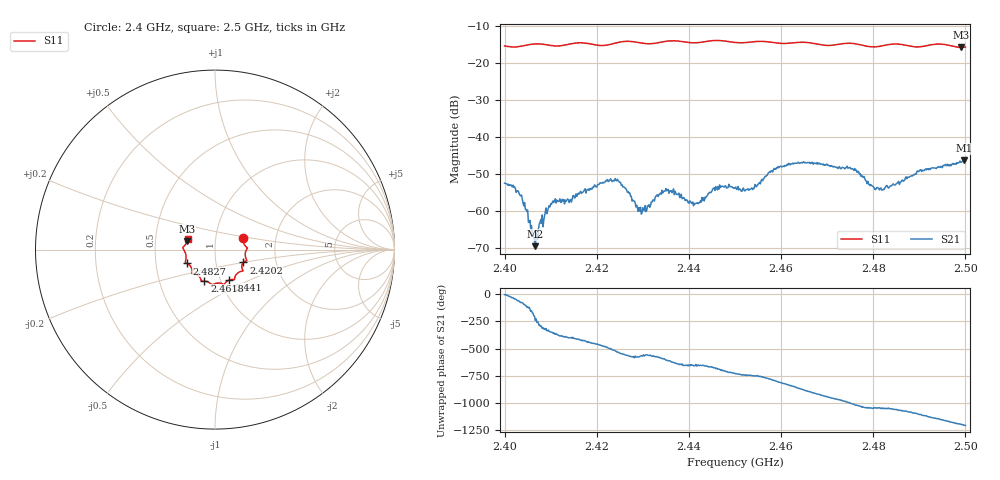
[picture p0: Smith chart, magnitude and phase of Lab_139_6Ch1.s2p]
# Hz S RI R 50
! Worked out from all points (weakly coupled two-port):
!   601 points, 2.4 GHz to 2.5 GHz, reference 50 ohm
!   highest |S21| = -46.37 dB at 2.4997 GHz (marker M1); lowest = -69.6 dB at 2.4067 GHz (marker M2)
!   lowest |S11| = -15.8 dB at 2.499 GHz (marker M3), VSWR 1.39, Z = 36.4 + j3.48 ohm
!   |S11| at or under -10 dB: start of sweep to end of sweep
!   S12 and S22 are empty: the file has one direction only
!   S11 on the Smith chart (normalised r, x): 2.4 GHz: 1.36, +0.18; 2.4202 GHz: 1.36, -0.20; 2.441 GHz: 1.10, -0.39; 2.4618 GHz: 0.84, -0.30; 2.4827 GHz: 0.72, -0.12; 2.5 GHz: 0.73, +0.09
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2.4e9  0.1582 0.0628  0.00234 -0.000111  0 0  0 0
2.403333e9  0.1653 0.0252  0.000512 -0.00153  0 0  0 0
2.406667e9  0.1805 0.00994  -0.000159 0.000289  0 0  0 0
2.4105e9  0.1704 -0.0111  0.00135 6.17e-05  0 0  0 0
2.416667e9  0.1773 -0.0606  0.000819 -0.0015  0 0  0 0
2.420167e9  0.1584 -0.0713  -0.000399 -0.00222  0 0  0 0
2.4245e9  0.1529 -0.1105  -0.00263 -0.00031  0 0  0 0
2.429333e9  0.1427 -0.1218  -0.000829 0.00053  0 0  0 0
2.433333e9  0.1115 -0.1509  -0.00122 0.000958  0 0  0 0
2.4365e9  0.1088 -0.1672  -0.000131 0.00183  0 0  0 0
2.441e9  0.0785 -0.1696  0.000543 0.00103  0 0  0 0
2.4455e9  0.051 -0.1944  0.00146 0.00143  0 0  0 0
2.45e9  0.0283 -0.187  0.00203 -0.000284  0 0  0 0
2.453667e9  -0.0054 -0.1924  0.00174 -0.00103  0 0  0 0
2.461833e9  -0.0593 -0.1753  -0.00201 -0.00377  0 0  0 0
2.466667e9  -0.0784 -0.1682  -0.0044 0.000274  0 0  0 0
2.474833e9  -0.127 -0.1341  0.000463 0.00378  0 0  0 0
2.482667e9  -0.156 -0.0773  0.00187 0.000953  0 0  0 0
2.483333e9  -0.1603 -0.0754  0.00167 0.00112  0 0  0 0
2.499e9  -0.1553 0.0465  -0.00196 -0.00408  0 0  0 0
2.499667e9  -0.1527 0.0559  -0.00275 -0.00394  0 0  0 0
2.5e9  -0.1522 0.0606  -0.00281 -0.00374  0 0  0 0
